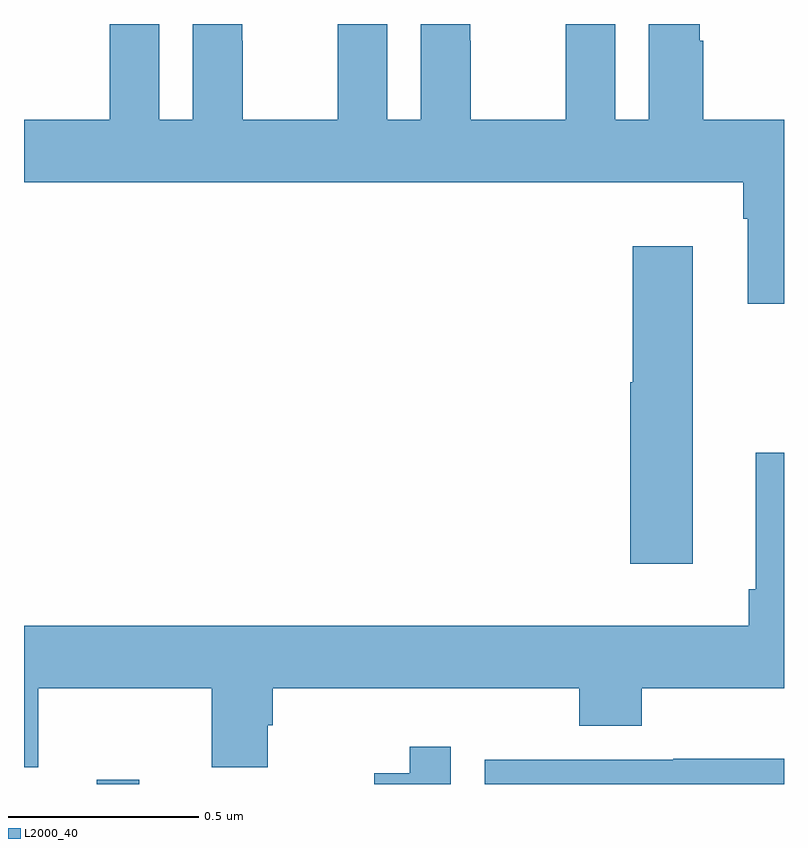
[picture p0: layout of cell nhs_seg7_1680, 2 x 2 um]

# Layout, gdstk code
import gdstk
lib = gdstk.Library(unit=1e-6, precision=1e-09)
def R(c, l, rs):  # rectangles x0, y0, x1, y1
    for r in rs: c.add(gdstk.rectangle(r[:2], r[2:], *l))
def P(c, l, *ps):  # polygons
    for p in ps: c.add(gdstk.Polygon(p, *l))
L2000_40 = (2000, 40)

nhs_seg7_1680 = lib.new_cell('nhs_seg7_1680')
R(nhs_seg7_1680, L2000_40, [(134.192,1031,134.303,1031.011)])
P(nhs_seg7_1680, L2000_40, [(136,1032.748),(135.788,1032.748),(135.788,1032.956),(135.778,1032.956),(135.778,1033),(135.644,1033),(135.644,1032.748),(135.556,1032.748),(135.556,1033),(135.426,1033),(135.426,1032.956),(135.425,1032.956),(135.425,1032.748),(135.175,1032.748),(135.175,1032.956),(135.174,1032.956),(135.174,1033),(135.044,1033),(135.044,1032.748),(134.956,1032.748),(134.956,1033),(134.826,1033),(134.826,1032.956),(134.825,1032.956),(134.825,1032.748),(134.575,1032.748),(134.575,1032.956),(134.574,1032.956),(134.574,1033),(134.444,1033),(134.444,1032.748),(134.356,1032.748),(134.356,1033),(134.226,1033),(134.226,1032.956),(134.225,1032.956),(134.225,1032.748),(134,1032.748),(134,1032.584),(135.893,1032.584),(135.893,1032.488),(135.905,1032.488),(135.905,1032.264),(136,1032.264)],
  [(135.76,1032.415),(135.602,1032.415),(135.602,1032.057),(135.596,1032.057),(135.596,1031.58),(135.76,1031.58)],
  [(134.037,1031.252),(134.494,1031.252),(134.494,1031.044),(134.641,1031.044),(134.641,1031.154),(134.654,1031.154),(134.654,1031.252),(135.461,1031.252),(135.461,1031.153),(135.626,1031.153),(135.626,1031.252),(136,1031.252),(136,1031.872),(135.926,1031.872),(135.926,1031.512),(135.907,1031.512),(135.907,1031.416),(134,1031.416),(134,1031.044),(134.037,1031.044)],
  [(135.123,1031.098),(135.015,1031.098),(135.015,1031.028),(134.922,1031.028),(134.922,1031),(135.123,1031)],
  [(136,1031.066),(135.709,1031.066),(135.709,1031.064),(135.213,1031.064),(135.213,1031),(136,1031)])

lib.write_gds('nhs_seg7_1680.gds')
